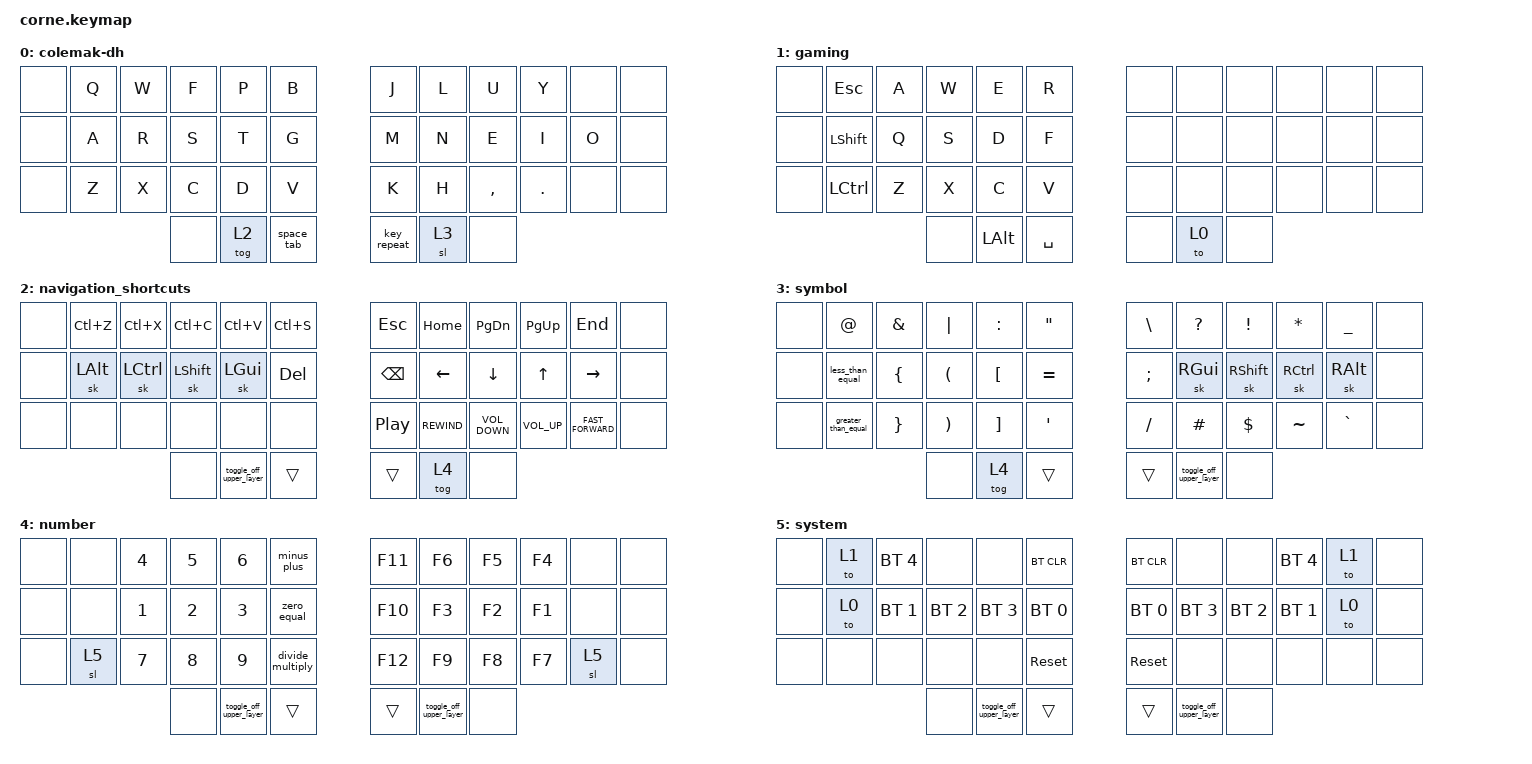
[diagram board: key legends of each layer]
#include <behaviors.dtsi>
#include <dt-bindings/zmk/bt.h>
#include <dt-bindings/zmk/keys.h>

/ {
    combos {
        compatible = "zmk,combos";

        combos_backspace {
            bindings = <&kp BACKSPACE>;
            key-positions = <15 14>;
            layers = <0 3 4>;
        };

        combos_escape {
            bindings = <&kp ESCAPE>;
            key-positions = <20 21>;
            layers = <0 3 4>;
        };

        combos_under {
            bindings = <&kp UNDERSCORE>;
            key-positions = <13 22>;
            layers = <0>;
        };

        combos_shift {
            bindings = <&shift_caps>;
            key-positions = <15 20>;
            layers = <0>;
        };

        combos_equal {
            bindings = <&kp EQUAL>;
            key-positions = <14 21>;
            layers = <0>;
        };

        combos_to_layer_colemak-dh {
            bindings = <&to 0>;
            key-positions = <3 8>;
        };

        combos_to_layer_gaming {
            bindings = <&to 1>;
            key-positions = <2 10>;
        };

        combos_return {
            bindings = <&kp RETURN>;
            key-positions = <17 18>;
            layers = <0 3 4>;
        };

        combos_semicolon {
            bindings = <&kp SEMICOLON>;
            key-positions = <16 19>;
            layers = <0>;
        };
    };

    macros {
        macro_less_than_equal: less_than_equal {
            compatible = "zmk,behavior-macro";
            #binding-cells = <0>;
            bindings = <&kp LESS_THAN &kp EQUAL>;
            label = "LESS_THAN_EQUAL";
        };

        macro_greater_than_equal: more_than_equal {
            compatible = "zmk,behavior-macro";
            #binding-cells = <0>;
            bindings = <&kp GREATER_THAN &kp EQUAL>;
            label = "MORE_THAN_EQUAL";
        };

        toggle_off_upper_layer: toggle_off_upper_layer {
            compatible = "zmk,behavior-macro";
            #binding-cells = <0>;
            bindings = <&toggle_off 2 &toggle_off 3 &toggle_off 4 &toggle_off 5>;
            label = "TOGGLE_OFF_UPPER_LAYER";
        };
    };

    behaviors {
        less_than_equal: less_than_equal {
            compatible = "zmk,behavior-tap-dance";
            label = "LESS_THAN_EQUAL";
            #binding-cells = <0>;
            bindings = <&kp LESS_THAN>, <&macro_less_than_equal>;

            tapping-term-ms = <200>;
        };

        greater_than_equal: greater_than_equal {
            compatible = "zmk,behavior-tap-dance";
            label = "GREATER_THAN_EQUAL";
            #binding-cells = <0>;
            bindings = <&kp GREATER_THAN>, <&macro_greater_than_equal>;

            tapping-term-ms = <200>;
        };

        space_tab: space_tab {
            compatible = "zmk,behavior-tap-dance";
            label = "SPACE_TAB";
            #binding-cells = <0>;
            bindings = <&kp SPACE>, <&kp TAB>;

            tapping-term-ms = <200>;
        };

        minus_plus: minus_plus {
            compatible = "zmk,behavior-tap-dance";
            label = "MINUS_PLUS";
            #binding-cells = <0>;
            bindings = <&kp MINUS>, <&kp PLUS>;

            tapping-term-ms = <200>;
        };

        divide_multiply: divide_multiply {
            compatible = "zmk,behavior-tap-dance";
            label = "DIVIDE_MULTIPLY";
            #binding-cells = <0>;
            bindings = <&kp SLASH>, <&kp ASTERISK>;

            tapping-term-ms = <200>;
        };

        zero_equal: zero_equal {
            compatible = "zmk,behavior-tap-dance";
            label = "ZERO_EQUAL";
            #binding-cells = <0>;
            bindings = <&kp NUMBER_0>, <&kp EQUAL>;

            tapping-term-ms = <200>;
        };

        toggle_off: toggle_off {
            compatible = "zmk,behavior-toggle-layer";
            label = "TOGGLE_OFF";
            #binding-cells = <1>;
            toggle-mode = "off";
        };

        shift_caps: shift_caps {
            compatible = "zmk,behavior-tap-dance";
            label = "SHIFT_CAPS";
            #binding-cells = <0>;
            bindings = <&sk LEFT_SHIFT>, <&caps_word>;

            tapping-term-ms = <200>;
        };
    };

    keymap {
        compatible = "zmk,keymap";

        base_colemak-dh {
            bindings = <
&none  &kp Q  &kp W  &kp F  &kp P   &kp B         &kp J        &kp L  &kp U      &kp Y    &none  &none
&none  &kp A  &kp R  &kp S  &kp T   &kp G         &kp M        &kp N  &kp E      &kp I    &kp O  &none
&none  &kp Z  &kp X  &kp C  &kp D   &kp V         &kp K        &kp H  &kp COMMA  &kp DOT  &none  &none
                     &none  &tog 2  &space_tab    &key_repeat  &sl 3  &none
            >;

            label = "colemak-dh";
        };

        base_gaming {
            label = "gaming";
            bindings = <
&none  &kp ESCAPE        &kp A  &kp W  &kp E         &kp R        &none  &none  &none  &none  &none  &none
&none  &kp LEFT_SHIFT    &kp Q  &kp S  &kp D         &kp F        &none  &none  &none  &none  &none  &none
&none  &kp LEFT_CONTROL  &kp Z  &kp X  &kp C         &kp V        &none  &none  &none  &none  &none  &none
                                &none  &kp LEFT_ALT  &kp SPACE    &none  &to 0  &none
            >;
        };

        navigation_shortcuts {
            bindings = <
&none  &kp LC(Z)     &kp LC(X)         &kp LC(C)       &kp LC(V)                &kp LC(S)    &kp ESCAPE  &kp HOME        &kp PAGE_DOWN      &kp PAGE_UP      &kp END             &none
&none  &sk LEFT_ALT  &sk LEFT_CONTROL  &sk LEFT_SHIFT  &sk LEFT_GUI             &kp DEL      &kp BSPC    &kp LEFT_ARROW  &kp DOWN_ARROW     &kp UP_ARROW     &kp RIGHT_ARROW     &none
&none  &none         &none             &none           &none                    &none        &kp C_PP    &kp C_REWIND    &kp C_VOLUME_DOWN  &kp C_VOLUME_UP  &kp C_FAST_FORWARD  &none
                                       &none           &toggle_off_upper_layer  &trans       &trans      &tog 4          &none
            >;

            label = "navigation_shortcuts";
        };

        symbol {
            bindings = <
&none  &kp AT_SIGN          &kp AMPERSAND    &kp PIPE              &kp COLON          &kp DOUBLE_QUOTES    &kp BACKSLASH  &kp QUESTION             &kp EXCLAMATION  &kp ASTERISK  &kp UNDERSCORE  &none
&none  &less_than_equal     &kp LEFT_BRACE   &kp LEFT_PARENTHESIS  &kp LEFT_BRACKET   &kp EQUAL            &kp SEMICOLON  &sk RGUI                 &sk RSHFT        &sk RCTRL     &sk RALT        &none
&none  &greater_than_equal  &kp RIGHT_BRACE  &kp RPAR              &kp RIGHT_BRACKET  &kp SINGLE_QUOTE     &kp SLASH      &kp HASH                 &kp DOLLAR       &kp TILDE     &kp GRAVE       &none
                                             &none                 &tog 4             &trans               &trans         &toggle_off_upper_layer  &none
            >;

            label = "symbol";
        };

        number {
            bindings = <
&none  &none  &kp NUMBER_4  &kp NUMBER_5  &kp NUMBER_6             &minus_plus         &kp F11  &kp F6                   &kp F5  &kp F4  &none  &none
&none  &none  &kp NUMBER_1  &kp NUMBER_2  &kp NUMBER_3             &zero_equal         &kp F10  &kp F3                   &kp F2  &kp F1  &none  &none
&none  &sl 5  &kp NUMBER_7  &kp NUMBER_8  &kp NUMBER_9             &divide_multiply    &kp F12  &kp F9                   &kp F8  &kp F7  &sl 5  &none
                            &none         &toggle_off_upper_layer  &trans              &trans   &toggle_off_upper_layer  &none
            >;

            label = "number";
        };

        system {
            bindings = <
&none  &to 1  &bt BT_SEL 4  &none         &none                    &bt BT_CLR      &bt BT_CLR    &none                    &none         &bt BT_SEL 4  &to 1  &none
&none  &to 0  &bt BT_SEL 1  &bt BT_SEL 2  &bt BT_SEL 3             &bt BT_SEL 0    &bt BT_SEL 0  &bt BT_SEL 3             &bt BT_SEL 2  &bt BT_SEL 1  &to 0  &none
&none  &none  &none         &none         &none                    &sys_reset      &sys_reset    &none                    &none         &none         &none  &none
                            &none         &toggle_off_upper_layer  &trans          &trans        &toggle_off_upper_layer  &none
            >;

            label = "system";
        };
    };
};
